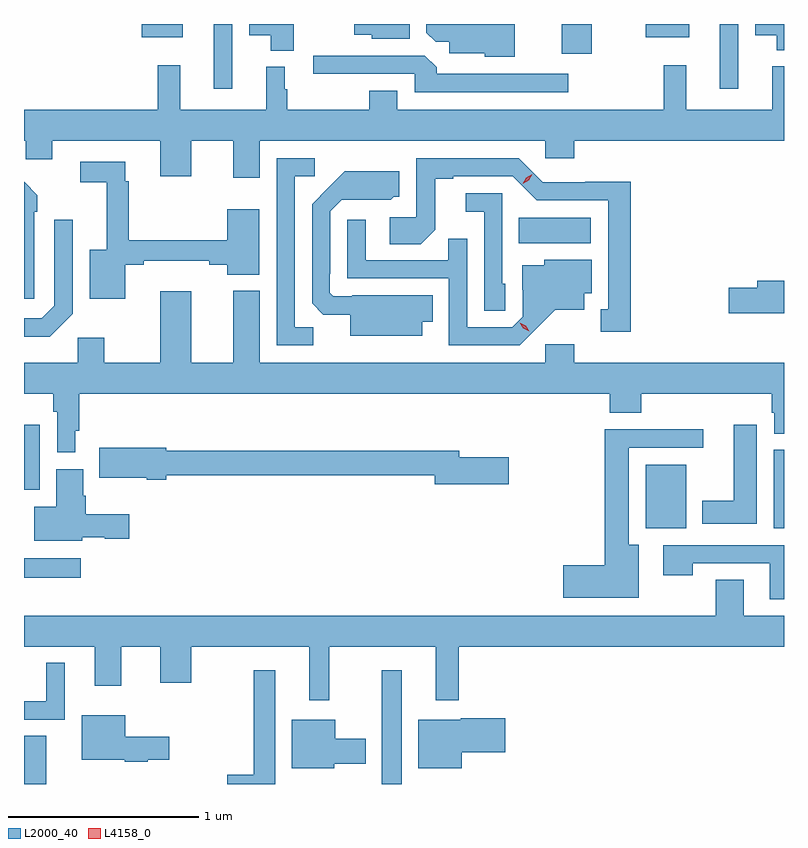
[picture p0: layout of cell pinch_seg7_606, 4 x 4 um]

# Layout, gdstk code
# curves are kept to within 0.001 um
import gdstk
lib = gdstk.Library(unit=1e-6, precision=1e-09)
def R(c, l, rs):  # rectangles x0, y0, x1, y1
    for r in rs: c.add(gdstk.rectangle(r[:2], r[2:], *l))
def P(c, l, *ps):  # polygons
    for p in ps: c.add(gdstk.Polygon(p, *l))
L2000_40 = (2000, 40)
L4158_0 = (4158, 0)

pinch_seg7_606 = lib.new_cell('pinch_seg7_606')
R(pinch_seg7_606, L2000_40, [(140.315,1023.87,140.431,1024.124), (142.199,1023.87,142.303,1024.468), (140.315,1024.955,140.614,1025.059), (143.588,1025.216,143.8,1025.551), (144.26,1025.216,144.315,1025.628), (140.315,1025.418,140.398,1025.761), (142.918,1026.716,143.299,1026.85), (141.314,1027.53,141.411,1027.87), (143.978,1027.53,144.075,1027.87), (143.144,1027.713,143.302,1027.87), (140.936,1027.799,141.151,1027.87), (143.588,1027.799,143.815,1027.87)])
P(pinch_seg7_606, L2000_40, [(141.736,1027.87),(141.5,1027.87),(141.5,1027.811),(141.614,1027.811),(141.614,1027.73),(141.736,1027.73)],
  [(142.345,1027.87),(142.052,1027.87),(142.052,1027.814),(142.146,1027.814),(142.146,1027.793),(142.345,1027.793)],
  [(142.897,1027.87),(142.433,1027.87),(142.433,1027.825),(142.482,1027.776),(142.553,1027.776),(142.553,1027.715),(142.74,1027.715),(142.74,1027.697),(142.897,1027.697)],
  [(144.315,1027.87),(144.164,1027.87),(144.164,1027.811),(144.278,1027.811),(144.278,1027.733),(144.315,1027.733)],
  [(143.179,1027.608),(142.487,1027.608),(142.487,1027.642),(142.425,1027.704),(141.837,1027.704),(141.837,1027.608),(142.371,1027.608),(142.371,1027.512),(143.179,1027.512)],
  [(141.556,1027.256),(143.058,1027.256),(143.058,1027.163),(143.21,1027.163),(143.21,1027.256),(144.315,1027.256),(144.315,1027.648),(144.254,1027.648),(144.254,1027.42),(143.801,1027.42),(143.801,1027.654),(143.683,1027.654),(143.683,1027.42),(142.279,1027.42),(142.279,1027.519),(142.132,1027.519),(142.132,1027.42),(141.7,1027.42),(141.7,1027.527),(141.688,1027.527),(141.688,1027.645),(141.59,1027.645),(141.59,1027.42),(141.137,1027.42),(141.137,1027.654),(141.019,1027.654),(141.019,1027.42),(140.315,1027.42),(140.315,1027.256),(140.325,1027.256),(140.325,1027.158),(140.464,1027.158),(140.464,1027.256),(141.032,1027.256),(141.032,1027.068),(141.196,1027.068),(141.196,1027.256),(141.416,1027.256),(141.416,1027.062),(141.556,1027.062)],
  [(143.509,1027.04),(143.268,1027.04),(143.268,1027.038),(143.046,1027.038),(142.92,1027.164),(142.38,1027.164),(142.38,1026.852),(142.239,1026.852),(142.239,1026.712),(142.403,1026.712),(142.479,1026.788),(142.479,1027.055),(142.573,1027.055),(142.573,1027.068),(142.887,1027.068),(143.013,1026.942),(143.39,1026.942),(143.39,1026.369),(143.351,1026.369),(143.351,1026.249),(143.509,1026.249)],
  [(141.837,1026.275),(141.741,1026.275),(141.741,1027.068),(141.844,1027.068),(141.844,1027.164),(141.645,1027.164),(141.645,1026.18),(141.837,1026.18)],
  [(140.847,1026.604),(140.944,1026.604),(140.944,1026.623),(141.29,1026.623),(141.29,1026.604),(141.386,1026.604),(141.386,1026.551),(141.553,1026.551),(141.553,1026.895),(141.386,1026.895),(141.386,1026.733),(140.867,1026.733),(140.867,1027.043),(140.849,1027.043),(140.849,1027.146),(140.61,1027.146),(140.61,1027.038),(140.75,1027.038),(140.75,1026.682),(140.66,1026.682),(140.66,1026.425),(140.847,1026.425)],
  [(142.411,1026.302),(142.466,1026.302),(142.466,1026.442),(142.042,1026.442),(142.042,1026.438),(141.942,1026.438),(141.924,1026.456),(141.924,1026.556),(141.927,1026.556),(141.927,1026.885),(141.987,1026.945),(142.244,1026.944),(142.26,1026.96),(142.291,1026.96),(142.291,1027.096),(142.003,1027.096),(141.831,1026.922),(141.831,1026.4),(141.89,1026.341),(142.031,1026.341),(142.031,1026.23),(142.411,1026.23)],
  [(140.37,1026.881),(140.385,1026.881),(140.385,1026.969),(140.315,1027.039),(140.315,1026.423),(140.37,1026.423)],
  [(142.848,1026.504),(142.833,1026.504),(142.833,1026.978),(142.641,1026.978),(142.641,1026.881),(142.737,1026.881),(142.737,1026.361),(142.848,1026.361)],
  [(143.008,1026.263),(143.111,1026.365),(143.263,1026.365),(143.263,1026.452),(143.302,1026.452),(143.302,1026.628),(143.052,1026.628),(143.052,1026.601),(142.937,1026.601),(142.937,1026.472),(142.941,1026.472),(142.941,1026.33),(142.884,1026.273),(142.647,1026.273),(142.647,1026.74),(142.549,1026.74),(142.549,1026.627),(142.113,1026.627),(142.113,1026.841),(142.017,1026.841),(142.017,1026.531),(142.551,1026.531),(142.551,1026.18),(142.924,1026.18)],
  [(140.571,1026.345),(140.571,1026.841),(140.475,1026.841),(140.475,1026.387),(140.409,1026.321),(140.315,1026.321),(140.315,1026.224),(140.45,1026.224)],
  [(144.315,1026.518),(144.173,1026.518),(144.173,1026.482),(144.024,1026.482),(144.024,1026.347),(144.315,1026.347)],
  [(140.586,1025.728),(140.606,1025.728),(140.606,1025.924),(143.399,1025.924),(143.399,1025.825),(143.564,1025.825),(143.564,1025.924),(144.251,1025.924),(144.251,1025.823),(144.263,1025.823),(144.263,1025.713),(144.315,1025.713),(144.315,1026.088),(143.21,1026.088),(143.21,1026.184),(143.058,1026.184),(143.058,1026.088),(141.556,1026.088),(141.556,1026.466),(141.416,1026.466),(141.416,1026.088),(141.196,1026.088),(141.196,1026.463),(141.032,1026.463),(141.032,1026.088),(140.737,1026.088),(140.737,1026.22),(140.598,1026.22),(140.598,1026.088),(140.315,1026.088),(140.315,1025.924),(140.47,1025.924),(140.47,1025.828),(140.49,1025.828),(140.49,1025.616),(140.586,1025.616)],
  [(144.172,1025.761),(144.05,1025.761),(144.05,1025.362),(143.885,1025.362),(143.885,1025.24),(144.172,1025.24)],
  [(143.551,1025.128),(143.497,1025.128),(143.497,1025.64),(143.89,1025.64),(143.89,1025.738),(143.372,1025.738),(143.372,1025.021),(143.154,1025.021),(143.154,1024.85),(143.551,1024.85)],
  [(142.867,1025.589),(142.606,1025.589),(142.606,1025.623),(141.064,1025.623),(141.064,1025.641),(140.712,1025.641),(140.712,1025.483),(140.96,1025.483),(140.96,1025.471),(141.064,1025.471),(141.064,1025.494),(142.478,1025.494),(142.478,1025.447),(142.867,1025.447)],
  [(140.622,1025.168),(140.739,1025.168),(140.739,1025.161),(140.869,1025.161),(140.869,1025.29),(140.639,1025.29),(140.639,1025.387),(140.626,1025.387),(140.626,1025.527),(140.486,1025.527),(140.486,1025.329),(140.369,1025.329),(140.369,1025.15),(140.622,1025.15)],
  [(144.315,1025.127),(143.679,1025.127),(143.679,1024.968),(143.835,1024.968),(143.835,1025.031),(144.239,1025.031),(144.239,1024.842),(144.315,1024.842)],
  [(141.922,1024.592),(142.481,1024.592),(142.481,1024.311),(142.603,1024.311),(142.603,1024.592),(144.315,1024.592),(144.315,1024.756),(144.103,1024.756),(144.103,1024.946),(143.956,1024.946),(143.956,1024.756),(140.315,1024.756),(140.315,1024.592),(140.687,1024.592),(140.687,1024.386),(140.827,1024.386),(140.827,1024.592),(141.032,1024.592),(141.032,1024.404),(141.196,1024.404),(141.196,1024.592),(141.815,1024.592),(141.815,1024.311),(141.922,1024.311)],
  [(140.53,1024.507),(140.432,1024.507),(140.432,1024.305),(140.315,1024.305),(140.315,1024.209),(140.53,1024.209)],
  [(141.637,1024.468),(141.523,1024.468),(141.523,1023.919),(141.386,1023.919),(141.386,1023.87),(141.637,1023.87)],
  [(140.966,1023.998),(141.079,1023.998),(141.079,1024.12),(140.848,1024.12),(140.848,1024.231),(140.618,1024.231),(140.618,1023.998),(140.844,1023.998),(140.844,1023.986),(140.966,1023.986)],
  [(142.618,1024.037),(142.849,1024.037),(142.849,1024.215),(142.614,1024.215),(142.614,1024.207),(142.391,1024.207),(142.391,1023.953),(142.618,1023.953)],
  [(141.948,1023.977),(142.114,1023.977),(142.114,1024.107),(141.952,1024.107),(141.952,1024.207),(141.725,1024.207),(141.725,1023.953),(141.948,1023.953)])
P(pinch_seg7_606, L4158_0, [(142.941,1027.028),(142.941,1027.028),(142.958,1027.061),(142.989,1027.08),(142.989,1027.08),(142.989,1027.08),(142.972,1027.047),(142.941,1027.028)],
  [(142.973,1026.253),(142.942,1026.268),(142.924,1026.297),(142.924,1026.297),(142.925,1026.297),(142.956,1026.282),(142.974,1026.253),(142.974,1026.253)])

lib.write_gds('pinch_seg7_606.gds')
